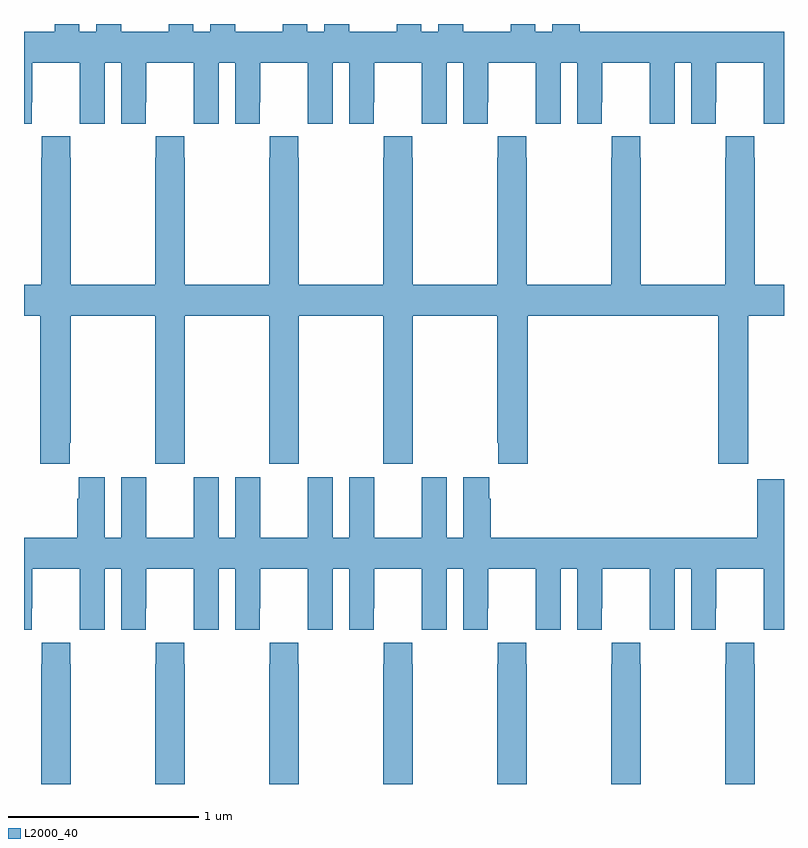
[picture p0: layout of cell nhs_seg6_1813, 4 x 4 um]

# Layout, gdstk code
import gdstk
lib = gdstk.Library(unit=1e-6, precision=1e-09)
def P(c, l, *ps):  # polygons
    for p in ps: c.add(gdstk.Polygon(p, *l))
L2000_40 = (2000, 40)

nhs_seg6_1813 = lib.new_cell('nhs_seg6_1813')
P(nhs_seg6_1813, L2000_40, [(221.693,987.088),(221.694,987.088),(221.694,986.976),(221.824,986.976),(221.824,987.296),(221.912,987.296),(221.912,986.976),(222.042,986.976),(222.042,987.088),(222.043,987.088),(222.043,987.296),(222.293,987.296),(222.293,987.088),(222.294,987.088),(222.294,986.976),(222.424,986.976),(222.424,987.296),(222.512,987.296),(222.512,986.976),(222.642,986.976),(222.642,987.088),(222.643,987.088),(222.643,987.296),(222.893,987.296),(222.893,987.088),(222.894,987.088),(222.894,986.976),(223,986.976),(223,987.46),(221.924,987.46),(221.924,987.5),(221.78,987.5),(221.78,987.46),(221.692,987.46),(221.692,987.5),(221.561,987.5),(221.561,987.46),(221.311,987.46),(221.311,987.5),(221.18,987.5),(221.18,987.46),(221.092,987.46),(221.092,987.5),(220.961,987.5),(220.961,987.46),(220.711,987.46),(220.711,987.5),(220.58,987.5),(220.58,987.46),(220.492,987.46),(220.492,987.5),(220.361,987.5),(220.361,987.46),(220.111,987.46),(220.111,987.5),(219.98,987.5),(219.98,987.46),(219.892,987.46),(219.892,987.5),(219.761,987.5),(219.761,987.46),(219.511,987.46),(219.511,987.5),(219.38,987.5),(219.38,987.46),(219.292,987.46),(219.292,987.5),(219.161,987.5),(219.161,987.46),(219,987.46),(219,986.976),(219.042,986.976),(219.042,987.088),(219.043,987.088),(219.043,987.296),(219.293,987.296),(219.293,987.088),(219.294,987.088),(219.294,986.976),(219.424,986.976),(219.424,987.296),(219.512,987.296),(219.512,986.976),(219.642,986.976),(219.642,987.088),(219.643,987.088),(219.643,987.296),(219.893,987.296),(219.893,987.088),(219.894,987.088),(219.894,986.976),(220.024,986.976),(220.024,987.296),(220.112,987.296),(220.112,986.976),(220.242,986.976),(220.242,987.088),(220.243,987.088),(220.243,987.296),(220.493,987.296),(220.493,987.088),(220.494,987.088),(220.494,986.976),(220.624,986.976),(220.624,987.296),(220.712,987.296),(220.712,986.976),(220.842,986.976),(220.842,987.088),(220.843,987.088),(220.843,987.296),(221.093,987.296),(221.093,987.088),(221.094,987.088),(221.094,986.976),(221.224,986.976),(221.224,987.296),(221.312,987.296),(221.312,986.976),(221.442,986.976),(221.442,987.088),(221.443,987.088),(221.443,987.296),(221.693,987.296)],
  [(221.046,985.964),(221.491,985.964),(221.491,985.297),(221.495,985.297),(221.495,985.185),(221.651,985.185),(221.651,985.964),(222.653,985.964),(222.653,985.185),(222.813,985.185),(222.813,985.964),(223,985.964),(223,986.128),(222.846,986.128),(222.846,986.795),(222.843,986.795),(222.843,986.908),(222.693,986.908),(222.693,986.795),(222.691,986.795),(222.691,986.128),(222.246,986.128),(222.246,986.795),(222.243,986.795),(222.243,986.908),(222.093,986.908),(222.093,986.795),(222.091,986.795),(222.091,986.128),(221.646,986.128),(221.646,986.795),(221.643,986.795),(221.643,986.908),(221.493,986.908),(221.493,986.795),(221.491,986.795),(221.491,986.128),(221.046,986.128),(221.046,986.795),(221.043,986.795),(221.043,986.908),(220.893,986.908),(220.893,986.795),(220.891,986.795),(220.891,986.128),(220.446,986.128),(220.446,986.795),(220.443,986.795),(220.443,986.908),(220.293,986.908),(220.293,986.795),(220.291,986.795),(220.291,986.128),(219.846,986.128),(219.846,986.795),(219.843,986.795),(219.843,986.908),(219.693,986.908),(219.693,986.795),(219.691,986.795),(219.691,986.128),(219.246,986.128),(219.246,986.795),(219.243,986.795),(219.243,986.908),(219.093,986.908),(219.093,986.795),(219.091,986.795),(219.091,986.128),(219,986.128),(219,985.964),(219.086,985.964),(219.086,985.185),(219.241,985.185),(219.241,985.297),(219.246,985.297),(219.246,985.964),(219.691,985.964),(219.691,985.185),(219.846,985.185),(219.846,985.964),(220.291,985.964),(220.291,985.185),(220.446,985.185),(220.446,985.964),(220.891,985.964),(220.891,985.185),(221.046,985.185)],
  [(221.456,985.001),(221.449,985.001),(221.449,985.114),(221.312,985.114),(221.312,984.796),(221.224,984.796),(221.224,985.114),(221.093,985.114),(221.093,984.796),(220.843,984.796),(220.843,985.114),(220.712,985.114),(220.712,984.796),(220.624,984.796),(220.624,985.114),(220.493,985.114),(220.493,984.796),(220.243,984.796),(220.243,985.114),(220.112,985.114),(220.112,984.796),(220.024,984.796),(220.024,985.114),(219.893,985.114),(219.893,984.796),(219.643,984.796),(219.643,985.114),(219.512,985.114),(219.512,984.796),(219.424,984.796),(219.424,985.114),(219.287,985.114),(219.287,985.001),(219.281,985.001),(219.281,984.796),(219,984.796),(219,984.312),(219.042,984.312),(219.042,984.424),(219.043,984.424),(219.043,984.632),(219.293,984.632),(219.293,984.424),(219.294,984.424),(219.294,984.312),(219.424,984.312),(219.424,984.632),(219.512,984.632),(219.512,984.312),(219.642,984.312),(219.642,984.424),(219.643,984.424),(219.643,984.632),(219.893,984.632),(219.893,984.424),(219.894,984.424),(219.894,984.312),(220.024,984.312),(220.024,984.632),(220.112,984.632),(220.112,984.312),(220.242,984.312),(220.242,984.424),(220.243,984.424),(220.243,984.632),(220.493,984.632),(220.493,984.424),(220.494,984.424),(220.494,984.312),(220.624,984.312),(220.624,984.632),(220.712,984.632),(220.712,984.312),(220.842,984.312),(220.842,984.424),(220.843,984.424),(220.843,984.632),(221.093,984.632),(221.093,984.424),(221.094,984.424),(221.094,984.312),(221.224,984.312),(221.224,984.632),(221.312,984.632),(221.312,984.312),(221.442,984.312),(221.442,984.424),(221.443,984.424),(221.443,984.632),(221.693,984.632),(221.693,984.424),(221.694,984.424),(221.694,984.312),(221.824,984.312),(221.824,984.632),(221.912,984.632),(221.912,984.312),(222.042,984.312),(222.042,984.424),(222.043,984.424),(222.043,984.632),(222.293,984.632),(222.293,984.424),(222.294,984.424),(222.294,984.312),(222.424,984.312),(222.424,984.632),(222.512,984.632),(222.512,984.312),(222.642,984.312),(222.642,984.424),(222.643,984.424),(222.643,984.632),(222.893,984.632),(222.893,984.424),(222.894,984.424),(222.894,984.312),(223,984.312),(223,985.105),(222.86,985.105),(222.86,984.796),(221.456,984.796)],
  [(219.246,984.131),(219.243,984.131),(219.243,984.244),(219.093,984.244),(219.093,984.131),(219.091,984.131),(219.091,983.5),(219.246,983.5)],
  [(219.846,984.131),(219.843,984.131),(219.843,984.244),(219.693,984.244),(219.693,984.131),(219.691,984.131),(219.691,983.5),(219.846,983.5)],
  [(220.446,984.131),(220.443,984.131),(220.443,984.244),(220.293,984.244),(220.293,984.131),(220.291,984.131),(220.291,983.5),(220.446,983.5)],
  [(221.046,984.131),(221.043,984.131),(221.043,984.244),(220.893,984.244),(220.893,984.131),(220.891,984.131),(220.891,983.5),(221.046,983.5)],
  [(221.646,984.131),(221.643,984.131),(221.643,984.244),(221.493,984.244),(221.493,984.131),(221.491,984.131),(221.491,983.5),(221.646,983.5)],
  [(222.246,984.131),(222.243,984.131),(222.243,984.244),(222.093,984.244),(222.093,984.131),(222.091,984.131),(222.091,983.5),(222.246,983.5)],
  [(222.846,984.131),(222.843,984.131),(222.843,984.244),(222.693,984.244),(222.693,984.131),(222.691,984.131),(222.691,983.5),(222.846,983.5)])

lib.write_gds('nhs_seg6_1813.gds')
